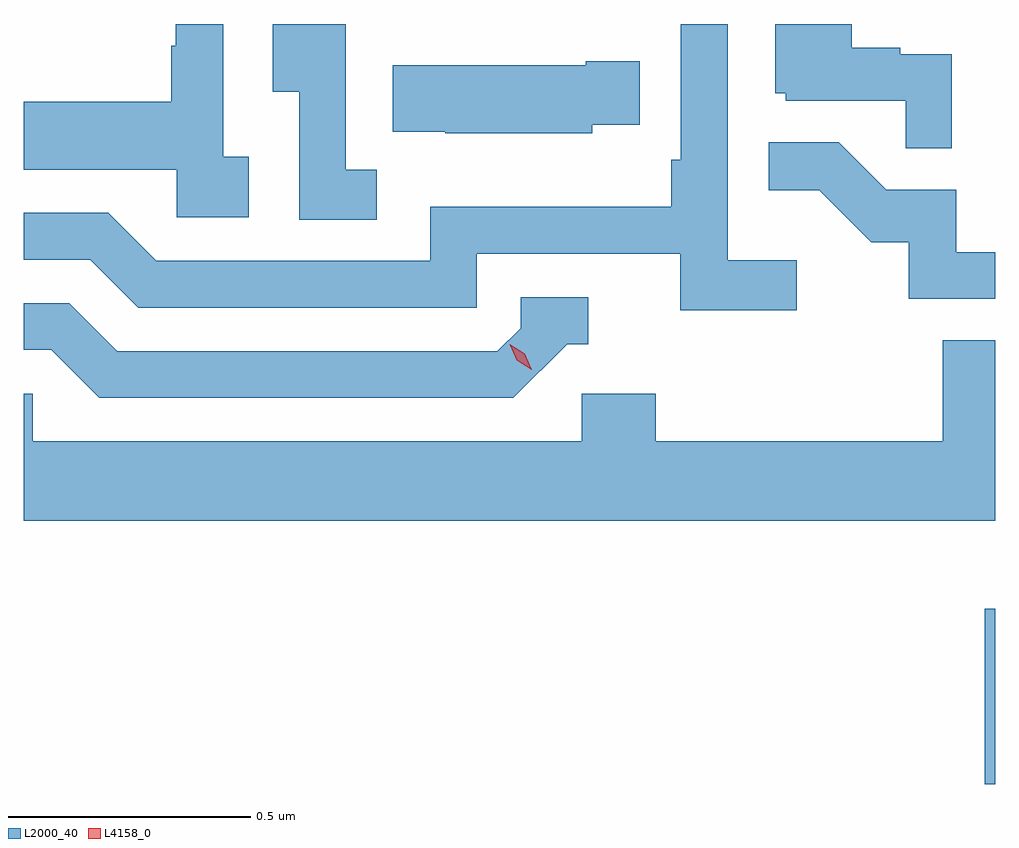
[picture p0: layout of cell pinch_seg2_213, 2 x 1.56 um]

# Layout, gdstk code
import gdstk
lib = gdstk.Library(unit=1e-6, precision=1e-09)
def R(c, l, rs):  # rectangles x0, y0, x1, y1
    for r in rs: c.add(gdstk.rectangle(r[:2], r[2:], *l))
def P(c, l, *ps):  # polygons
    for p in ps: c.add(gdstk.Polygon(p, *l))
L2000_40 = (2000, 40)
L4158_0 = (4158, 0)

pinch_seg2_213 = lib.new_cell('pinch_seg2_213')
R(pinch_seg2_213, L2000_40, [(971.192,657.75,971.213,658.111)])
P(pinch_seg2_213, L2000_40, [(970.804,658.828),(970.662,658.828),(970.662,659.315),(970.566,659.315),(970.566,659.035),(970.546,659.035),(970.546,658.939),(970.05,658.939),(970.05,658.827),(969.486,658.827),(969.387,658.926),(969.213,658.926),(969.213,658.83),(969.35,658.83),(969.449,658.731),(970.146,658.731),(970.146,658.842),(970.565,658.842),(970.565,658.726),(970.804,658.726)],
  [(969.94,659.015),(969.876,659.015),(969.876,659.315),(969.725,659.315),(969.725,659.176),(969.78,659.176),(969.78,658.912),(969.94,658.912)],
  [(969.676,659.042),(969.624,659.042),(969.624,659.315),(969.526,659.315),(969.526,659.27),(969.516,659.27),(969.516,659.155),(969.213,659.155),(969.213,659.015),(969.528,659.015),(969.528,658.917),(969.676,658.917)],
  [(971.124,659.253),(971.018,659.253),(971.018,659.266),(970.918,659.266),(970.918,659.315),(970.76,659.315),(970.76,659.172),(970.782,659.172),(970.782,659.157),(971.029,659.157),(971.029,659.059),(971.124,659.059)],
  [(970.383,659.108),(970.481,659.108),(970.481,659.238),(970.37,659.238),(970.37,659.23),(969.973,659.23),(969.973,659.093),(970.081,659.093),(970.081,659.09),(970.383,659.09)],
  [(971.213,658.845),(971.133,658.845),(971.133,658.974),(970.989,658.974),(970.891,659.072),(970.747,659.072),(970.747,658.973),(970.851,658.973),(970.958,658.866),(971.035,658.866),(971.035,658.749),(971.213,658.749)],
  [(970.332,658.656),(970.375,658.656),(970.375,658.752),(970.236,658.752),(970.236,658.689),(970.188,658.641),(969.405,658.641),(969.306,658.74),(969.213,658.74),(969.213,658.644),(969.269,658.644),(969.368,658.545),(970.221,658.545)],
  [(971.213,658.664),(971.105,658.664),(971.105,658.456),(970.514,658.456),(970.514,658.554),(970.362,658.554),(970.362,658.456),(969.231,658.456),(969.231,658.554),(969.213,658.554),(969.213,658.292),(971.213,658.292)])
P(pinch_seg2_213, L4158_0, [(970.259,658.603),(970.228,658.623),(970.213,658.656),(970.213,658.656),(970.213,658.656),(970.244,658.636),(970.259,658.603),(970.259,658.603)])

lib.write_gds('pinch_seg2_213.gds')
